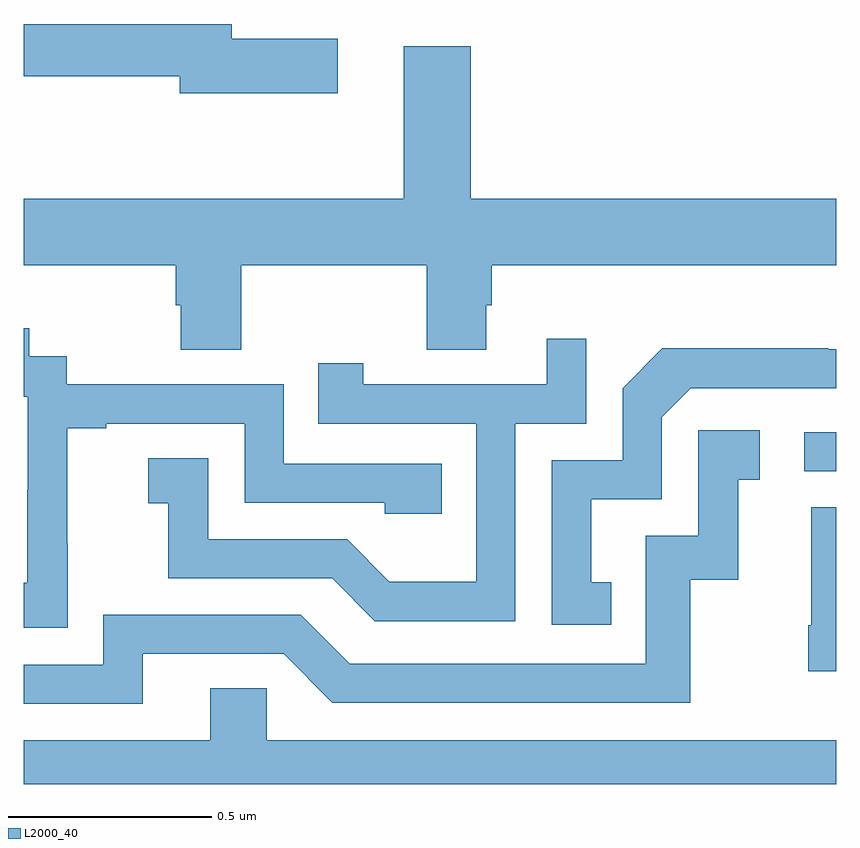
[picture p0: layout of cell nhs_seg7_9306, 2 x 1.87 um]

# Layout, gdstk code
import gdstk
lib = gdstk.Library(unit=1e-6, precision=1e-09)
def R(c, l, rs):  # rectangles x0, y0, x1, y1
    for r in rs: c.add(gdstk.rectangle(r[:2], r[2:], *l))
def P(c, l, *ps):  # polygons
    for p in ps: c.add(gdstk.Polygon(p, *l))
L2000_40 = (2000, 40)

nhs_seg7_9306 = lib.new_cell('nhs_seg7_9306')
R(nhs_seg7_9306, L2000_40, [(237.921,1006.77,238,1006.866)])
P(nhs_seg7_9306, L2000_40, [(236.773,1007.834),(236.512,1007.834),(236.512,1007.87),(236,1007.87),(236,1007.742),(236.384,1007.742),(236.384,1007.699),(236.773,1007.699)],
  [(236.535,1007.276),(236.992,1007.276),(236.992,1007.068),(237.139,1007.068),(237.139,1007.178),(237.152,1007.178),(237.152,1007.276),(238,1007.276),(238,1007.44),(237.1,1007.44),(237.1,1007.815),(236.936,1007.815),(236.936,1007.44),(236,1007.44),(236,1007.276),(236.375,1007.276),(236.375,1007.178),(236.387,1007.178),(236.387,1007.068),(236.535,1007.068)],
  [(236.109,1006.591),(236.108,1006.591),(236.108,1006.875),(236.203,1006.875),(236.203,1006.887),(236.544,1006.887),(236.544,1006.692),(236.889,1006.692),(236.889,1006.665),(237.029,1006.665),(237.029,1006.788),(236.64,1006.788),(236.64,1006.983),(236.106,1006.983),(236.106,1007.052),(236.014,1007.052),(236.014,1007.122),(236,1007.122),(236,1006.953),(236.01,1006.953),(236.01,1006.724),(236.009,1006.724),(236.009,1006.495),(236,1006.495),(236,1006.385),(236.109,1006.385)],
  [(237.21,1006.887),(237.384,1006.887),(237.384,1007.095),(237.287,1007.095),(237.287,1006.983),(236.836,1006.983),(236.836,1007.035),(236.725,1007.035),(236.725,1006.887),(237.114,1006.887),(237.114,1006.498),(236.9,1006.498),(236.796,1006.602),(236.454,1006.602),(236.454,1006.801),(236.307,1006.801),(236.307,1006.691),(236.356,1006.691),(236.356,1006.506),(236.759,1006.506),(236.864,1006.401),(237.21,1006.401)],
  [(237.446,1006.497),(237.397,1006.497),(237.397,1006.701),(237.57,1006.701),(237.57,1006.902),(237.642,1006.974),(238,1006.974),(238,1007.07),(237.98,1007.07),(237.98,1007.072),(237.572,1007.072),(237.474,1006.974),(237.474,1006.797),(237.3,1006.797),(237.3,1006.392),(237.446,1006.392)],
  [(236.293,1006.32),(236.64,1006.32),(236.76,1006.2),(237.64,1006.2),(237.64,1006.503),(237.758,1006.503),(237.758,1006.749),(237.811,1006.749),(237.811,1006.87),(237.66,1006.87),(237.66,1006.611),(237.531,1006.611),(237.531,1006.296),(236.802,1006.296),(236.682,1006.416),(236.196,1006.416),(236.196,1006.293),(236,1006.293),(236,1006.197),(236.293,1006.197)],
  [(238,1006.681),(237.938,1006.681),(237.938,1006.39),(237.931,1006.39),(237.931,1006.278),(238,1006.278)],
  [(238,1006.108),(236.598,1006.108),(236.598,1006.235),(236.459,1006.235),(236.459,1006.108),(236,1006.108),(236,1006),(238,1006)])

lib.write_gds('nhs_seg7_9306.gds')
